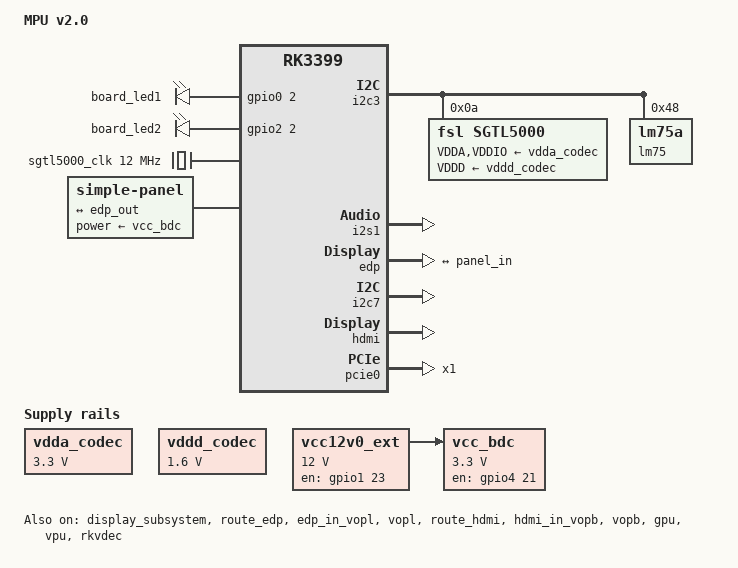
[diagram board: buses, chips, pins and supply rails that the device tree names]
/dts-v1/;

#include "friendlyelec-som-rk3399.dtsi"

/ {
	model = "MPU v2.0";
	compatible = "friendlyelec,rk3399-som", "rockchip,rk3399";

	chosen {
		// bootargs = "earlyprintk console=ttyS2,1500000n8 rw root=/dev/mmcblk0p4 rootwait rootfstype=ext4 init=/sbin/init";
		bootargs = "earlycon=uart8250,mmio32,0xff1a0000 swiotlb=1 console=ttyFIQ0 rw root=/dev/mmcblk0p4 rootwait rootfstype=ext4  coherent_pool=1m";
	};
	board_leds: board-leds {
		compatible = "gpio-leds";
		pinctrl-names = "default";
		pinctrl-0 = <&board_leds_gpios>;
		led1 {
			label = "board_led1";
			gpios = <&gpio0 2 GPIO_ACTIVE_HIGH>;
			linux,default-trigger = "heartbeat";
			linux,default-trigger-delay-ms = <0>;
		};
		led2 {
			label = "board_led2";
			gpios = <&gpio2 2 GPIO_ACTIVE_HIGH>;
			linux,default-trigger = "heartbeat";
			linux,default-trigger-delay-ms = <0>;
		};
	};

	vdda_codec: vdda-codec {
		compatible = "regulator-fixed";
		regulator-name = "vdda_codec";
		regulator-always-on;
		regulator-boot-on;
		regulator-min-microvolt = <3300000>;
		regulator-max-microvolt = <3300000>;
	};

	vddd_codec: vddd-codec {
		compatible = "regulator-fixed";
		regulator-name = "vddd_codec";
		regulator-always-on;
		regulator-boot-on;
		regulator-min-microvolt = <1600000>;
		regulator-max-microvolt = <1600000>;
	};

	sgtl5000_clk: sgtl5000-oscillator  {
			compatible = "fixed-clock";
			#clock-cells = <0>;
			clock-frequency  = <12000000>;
	};

	sgtl5000-sound {
		compatible = "simple-audio-card";
		simple-audio-card,format = "i2s";
		simple-audio-card,name = "Haikou,I2S-codec";
		// 24.576 MHz oscillator on the baseboard, divided by 512 = 48 kHz
		simple-audio-card,mclk-fs = <512>;
		simple-audio-card,cpu {
			sound-dai = <&i2s1>;
			frame-master;
			bitclock-master;
		};
		simple-audio-card,codec {
			sound-dai = <&sgtl5000>;
			clocks = <&sgtl5000_clk>;
		};
	};

	vcc12v0_ext: vcc12v0-ext {
		compatible = "regulator-fixed";
		regulator-name = "vcc12v0_ext";
		gpio = <&gpio1 23 GPIO_ACTIVE_HIGH>;	/* BDC Power - GPIO1_C7 */
		enable-active-high;
		regulator-boot-on;
		regulator-min-microvolt = <12000000>;
		regulator-max-microvolt = <12000000>;
	};

	vcc_bdc: bdc-pwr {
		compatible = "regulator-fixed";
		regulator-name = "vcc_bdc";
		gpio = <&gpio4 21 GPIO_ACTIVE_HIGH>;	/* BDC Power - GPIO4_C5 */
		enable-active-high;
		startup-delay-us = <20000>;
		regulator-min-microvolt = <3300000>;
		regulator-max-microvolt = <3300000>;
		regulator-boot-on;
		vin-supply = <&vcc12v0_ext>;
	};

	panel: panel {
		status = "okay";
		compatible = "simple-panel";
		power-supply = <&vcc_bdc>;
		prepare-delay-ms = <20>;
		enable-delay-ms = <100>;
		display-timings {
			native-mode = <&timing0>;

			timing0: timing0 {
				clock-frequency = <29500000>;
				hactive = <800>;
				vactive = <480>;
				hfront-porch = <91>;
				hsync-len = <12>;
				hback-porch = <90>;
				vfront-porch = <9>;
				vsync-len = <2>;
				vback-porch = <8>;
				hsync-active = <1>;
				vsync-active = <1>;
				de-active = <1>;
				pixelclk-active = <1>;
			};
		};

		ports {
			panel_in: endpoint {
				remote-endpoint = <&edp_out>;
			};
		};
	};
};

&vcc1v8_dvp {
	status = "disabled";
};

&vcc3v0_tp {
	status = "disabled";
};

&vcca3v0_codec {
	status = "disabled";
};

&i2c1 {
	status = "disabled";
};

&i2c2 {
	status = "disabled";
};

&i2c3 {
	status = "okay";
	sgtl5000: codec@0a {
		status = "okay";
		#sound-dai-cells = <0>;
		compatible = "fsl,sgtl5000";
		reg = <0x0a>;
		VDDA-supply = <&vdda_codec>;
		VDDIO-supply = <&vdda_codec>;
		VDDD-supply = <&vddd_codec>;
		clocks = <&sgtl5000_clk>;
	};

	lm75@48 {
		status = "okay";
		compatible = "lm75a";
		reg = <0x48>;
	};

	eeprom@51 {
		status = "disabled";
		compatible = "24c64";
		reg = <0x51>;
	};

	touch: ilitek@41 {
		status = "disabled";
		compatible = "tchip,ilitek";
		reg = <0x41>;
		// vdd-supply = <&deserializer_pwr>;
		interrupt-parent = <&gpio1>;
		interrupts = <20 IRQ_TYPE_LEVEL_LOW>;
		ilitek,irq-gpio = <&gpio1 20 GPIO_ACTIVE_HIGH>;
		// ilitek,reset-gpio = <&gpio_expander 1 GPIO_ACTIVE_HIGH>;
		// ilitek,vbus = "vcc_i2c";
		// ilitek,vdd = "vdd";
		// ilitek,name = "ilitek_i2c";
	};
};

&i2s0 {
	status = "disabled";
};

&i2s1 {
	status = "okay";
	rockchip,i2s-broken-burst-len;
	rockchip,playback-channels = <2>;
	rockchip,capture-channels = <2>;
	#sound-dai-cells = <0>;
};

&i2s2 {
	status = "disabled";
};

&display_subsystem {
	status = "okay";
};

/* EDP */
&route_edp {
	status = "okay";
	logo,mode = "center";
};
&edp_in_vopl {
	status = "okay";	/* EDP route through video output little */
};
&edp_in_vopb {
	status = "disabled";
};
&vopl {
	status = "okay";
};
&vopl_mmu {
	status = "okay";
};
&edp {
	status = "okay";
	force-hpd;
	/delete-property/ pinctrl-0;

	ports {
		port@1 {
			reg = <1>;

			edp_out: endpoint {
				remote-endpoint = <&panel_in>;
			};
		};
	};
};
/* EDP */

/* HDMI */
&i2c7 {
	status = "okay";
};
&route_hdmi {
	status = "okay";
	logo,mode = "center";
};
&hdmi_in_vopl {
	status = "disabled";
};
&hdmi_in_vopb {
	status = "okay";
};
&vopb {
	status = "okay";
};
&vopb_mmu {
	status = "okay";
};
&hdmi {
	status = "okay";
	/* remove the hdmi_i2c_xfer */
	pinctrl-0 = <&hdmi_cec>;
	#address-cells = <1>;
	#size-cells = <0>;
	#sound-dai-cells = <0>;
	ddc-i2c-bus = <&i2c7>;
	rockchip,defaultmode = <16>; /* CEA 1920x1080@60Hz */
};
/* HDMI */

&gpu {
	status = "okay";
	mali-supply = <&vdd_gpu>;
};

&vpu {
	status = "okay";
	/* 0 means ion, 1 means drm */
	//allocator = <0>;
};

&rkvdec {
	status = "okay";
	/* 0 means ion, 1 means drm */
	//allocator = <0>;
};

&cdn_dp {
	status = "disabled";
};

&spdif {
	status = "disabled";
};

&pcie0 {
	status = "okay";
	/delete-property/ ep-gpios;
	/delete-property/ pinctrl-names;
	/delete-property/ pinctrl-0;
	num-lanes = <1>;
	max-link-speed = <2>;
};

&pinctrl {

	leds {
		board_leds_gpios: board-leds-gpios {
			rockchip,pins = <0 2 RK_FUNC_GPIO &pcfg_pull_none>,
					<2 2 RK_FUNC_GPIO &pcfg_pull_none>;
		};
	};
	mpu {

		control_gpios: control-gpios {
			rockchip,pins =
				<1 0 RK_FUNC_GPIO &pcfg_input>,		/* ICM-20948 Interrupt	<GPIO1_A0 - 34> */
				<1 1 RK_FUNC_GPIO &pcfg_output_high>,	/* SIM Selection	<GPIO1_A1 - 36> */				
				<1 2 RK_FUNC_GPIO &pcfg_output_high>,	/* External USB Power   <GPIO1_A2 - 38> */
				<1 3 RK_FUNC_GPIO &pcfg_input>,		/* AK8975 Interrupt	<GPIO1_A3 - 40> */
				<1 13 RK_FUNC_GPIO &pcfg_input>,	/* ANT_DET0		<GPIO1_B5 - 82> */
				<1 18 RK_FUNC_GPIO &pcfg_output_low>,	/* Speaker or Mic	<GPIO1_C2 - 43> */
				<1 20 RK_FUNC_GPIO &pcfg_input>,	/* touch interrupt	<GPIO1_C4 - 84> */
				<1 22 RK_FUNC_GPIO &pcfg_output_high>,	/* SATA Bridge VBUS	<GPIO1_C6 - 44> */
				<1 23 RK_FUNC_GPIO &pcfg_output_high>,	/* ext +12v		<GPIO1_C7 - 46> */
				<1 24 RK_FUNC_GPIO &pcfg_output_high>,	/* modem reset		<GPIO1_D0 - 48> */
				<2 3 RK_FUNC_GPIO &pcfg_input>,		/* LM75 interrupt	<GPIO2_A3 - 41> */
				<2 5 RK_FUNC_GPIO &pcfg_output_low>,	/* OLED Power		<GPIO2_A5 - 45> */
				<4 18 RK_FUNC_GPIO &pcfg_output_high>,	/* Modem Power		<GPIO4_C2 - 88> */
				<4 21 RK_FUNC_GPIO &pcfg_output_high>,	/* bdc +12		<GPIO4_C5 - 50> */
				<4 22 RK_FUNC_GPIO &pcfg_input>;	/* ANT_DET1		<GPIO4_C6 - 90> */
		};
	};
};
